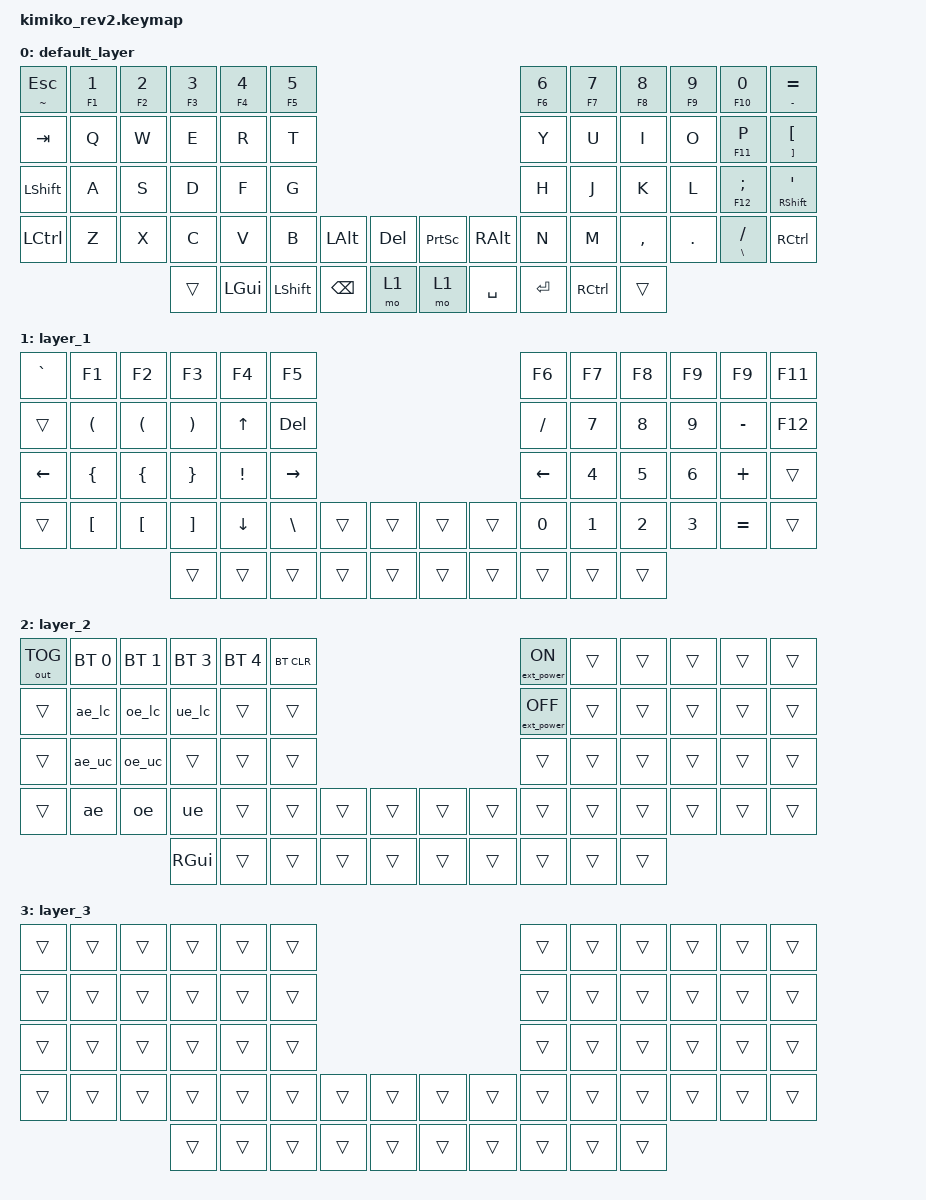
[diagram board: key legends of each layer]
#include <behaviors.dtsi>
#include <dt-bindings/zmk/bt.h>
#include <dt-bindings/zmk/ext_power.h>
#include <dt-bindings/zmk/keys.h>
#include <dt-bindings/zmk/outputs.h>

/ {
    macros {
        ae_lc: de_ae_lower_case {
            compatible = "zmk,behavior-macro";
            #binding-cells = <0>;
            wait-ms = <40>;
            tap-ms = <40>;
            bindings =
                <&macro_press>,
                <&kp LALT>,
                <&macro_tap>,
                <&kp KP_N1 &kp KP_N3 &kp KP_N2>,
                <&macro_release>,
                <&kp LALT>;
        };

        ae_uc: de_ae_upper_case {
            compatible = "zmk,behavior-macro";
            #binding-cells = <0>;
            wait-ms = <40>;
            tap-ms = <40>;
            bindings =
                <&macro_press>,
                <&kp LALT>,
                <&macro_tap>,
                <&kp KP_N1 &kp KP_N4 &kp KP_N2>,
                <&macro_release>,
                <&kp LALT>;
        };

        oe_lc: de_oe_lower_case {
            compatible = "zmk,behavior-macro";
            #binding-cells = <0>;
            wait-ms = <40>;
            tap-ms = <40>;
            bindings =
                <&macro_press>,
                <&kp LALT>,
                <&macro_tap>,
                <&kp KP_N1 &kp KP_N4 &kp KP_N8>,
                <&macro_release>,
                <&kp LALT>;
        };

        oe_uc: de_oe_upper_case {
            compatible = "zmk,behavior-macro";
            #binding-cells = <0>;
            wait-ms = <40>;
            tap-ms = <40>;
            bindings =
                <&macro_press>,
                <&kp LALT>,
                <&macro_tap>,
                <&kp KP_N1 &kp KP_N5 &kp KP_N3>,
                <&macro_release>,
                <&kp LALT>;
        };

        ue_lc: de_ue_lower_case {
            compatible = "zmk,behavior-macro";
            #binding-cells = <0>;
            wait-ms = <40>;
            tap-ms = <40>;
            bindings =
                <&macro_press>,
                <&kp LALT>,
                <&macro_tap>,
                <&kp KP_N1 &kp KP_N2 &kp KP_N9>,
                <&macro_release>,
                <&kp LALT>;
        };

        ue_uc: de_ue_upper_case {
            compatible = "zmk,behavior-macro";
            #binding-cells = <0>;
            wait-ms = <40>;
            tap-ms = <40>;
            bindings =
                <&macro_press>,
                <&kp LALT>,
                <&macro_tap>,
                <&kp KP_N1 &kp KP_N5 &kp KP_N4>,
                <&macro_release>,
                <&kp LALT>;
        };
    };

    behaviors {
        td_ae: td_de_ae {
            compatible = "zmk,behavior-tap-dance";
            #binding-cells = <0>;
            tapping-term-ms = <200>;
            bindings = <&kp A>, <&ae_lc>, <&ae_uc>;
        };

        td_oe: td_de_oe {
            compatible = "zmk,behavior-tap-dance";
            #binding-cells = <0>;
            tapping-term-ms = <200>;
            bindings = <&kp O>, <&oe_lc>, <&oe_uc>;
        };

        td_ue: td_de_ue {
            compatible = "zmk,behavior-tap-dance";
            #binding-cells = <0>;
            tapping-term-ms = <200>;
            bindings = <&kp U>, <&ue_lc>, <&ue_uc>;
        };

        ae: de_ae {
            compatible = "zmk,behavior-mod-morph";
            #binding-cells = <0>;
            bindings = <&ae_lc>, <&ae_uc>;

            mods = <(MOD_LCTL|MOD_RCTL|MOD_LGUI|MOD_RGUI|MOD_LSFT|MOD_RSFT)>;
        };

        oe: de_oe {
            compatible = "zmk,behavior-mod-morph";
            #binding-cells = <0>;
            bindings = <&oe_lc>, <&oe_uc>;

            mods = <(MOD_LSFT|MOD_RSFT)>;
        };

        ue: de_ue {
            compatible = "zmk,behavior-mod-morph";
            #binding-cells = <0>;
            bindings = <&ue_lc>, <&ue_uc>;

            mods = <(MOD_LSFT|MOD_RSFT)>;
        };

        ht_tp: hold_tap_tap_preferred {
            compatible = "zmk,behavior-hold-tap";
            #binding-cells = <2>;
            flavor = "tap-preferred";
            tapping-term-ms = <200>;
            quick-tap-ms = <200>;
            require-prior-idle-ms = <400>;
            bindings = <&kp>, <&kp>;
        };
    };

    combos {
        compatible = "zmk,combos";

        combo_adjust_layer_mo {
            bindings = <&mo 2>;
            key-positions = <56 57>;
        };
    };

    keymap {
        compatible = "zmk,keymap";

        default_layer {
            bindings = <
&mt TILDE ESC  &ht_tp F1 N1  &ht_tp F2 N2  &ht_tp F3 N3  &ht_tp F4 N4  &ht_tp F5 N5                                                            &ht_tp F6 N6  &ht_tp F7 N7  &ht_tp F8 N8  &ht_tp F9 N9  &ht_tp F10 N0    &mt MINUS EQUAL
&kp TAB        &kp Q         &kp W         &kp E         &kp R         &kp T                                                                   &kp Y         &kp U         &kp I         &kp O         &ht_tp F11 P     &mt RBKT LBKT
&kp LSHIFT     &kp A         &kp S         &kp D         &kp F         &kp G                                                                   &kp H         &kp J         &kp K         &kp L         &ht_tp F12 SEMI  &mt RSHFT APOS
&kp LCTRL      &kp Z         &kp X         &kp C         &kp V         &kp B           &kp LEFT_ALT   &kp DEL  &kp PRINTSCREEN  &kp RIGHT_ALT  &kp N         &kp M         &kp COMMA     &kp DOT       &mt BSLH FSLH    &kp RCTRL
                                           &trans        &kp LGUI      &kp LEFT_SHIFT  &kp BACKSPACE  &mo 1    &mo 1            &kp SPACE      &kp RET       &kp RCTRL     &trans
            >;
        };

        layer_1 {
            bindings = <
&kp GRAVE       &kp F1                &kp F2                &kp F3                 &kp F4           &kp F5                                         &kp F6    &kp F7        &kp F8        &kp F9  &kp F9     &kp F11
&trans          &kp LEFT_PARENTHESIS  &kp LEFT_PARENTHESIS  &kp RIGHT_PARENTHESIS  &kp UP           &kp DELETE                                     &kp FSLH  &kp N7        &kp N8        &kp N9  &kp MINUS  &kp F12
&kp LEFT_ARROW  &kp LEFT_BRACE        &kp LEFT_BRACE        &kp RIGHT_BRACE        &kp EXCLAMATION  &kp RIGHT                                      &kp LEFT  &kp N4        &kp N5        &kp N6  &kp PLUS   &trans
&trans          &kp LEFT_BRACKET      &kp LBKT              &kp RBKT               &kp DOWN_ARROW   &kp BACKSLASH  &trans  &trans  &trans  &trans  &kp N0    &kp NUMBER_1  &kp NUMBER_2  &kp N3  &kp EQUAL  &trans
                                                            &trans                 &trans           &trans         &trans  &trans  &trans  &trans  &trans    &trans        &trans
            >;
        };

        layer_2 {
            bindings = <
&out OUT_TOG  &bt BT_SEL 0  &bt BT_SEL 1  &bt BT_SEL 3  &bt BT_SEL 4  &bt BT_CLR                                  &ext_power EP_ON   &trans  &trans  &trans  &trans  &trans
&trans        &ae_lc        &oe_lc        &ue_lc        &trans        &trans                                      &ext_power EP_OFF  &trans  &trans  &trans  &trans  &trans
&trans        &ae_uc        &oe_uc        &trans        &trans        &trans                                      &trans             &trans  &trans  &trans  &trans  &trans
&trans        &ae           &oe           &ue           &trans        &trans      &trans  &trans  &trans  &trans  &trans             &trans  &trans  &trans  &trans  &trans
                                          &kp RGUI      &trans        &trans      &trans  &trans  &trans  &trans  &trans             &trans  &trans
            >;
        };

        layer_3 {
            bindings = <
&trans  &trans  &trans  &trans  &trans  &trans                                  &trans  &trans  &trans  &trans  &trans  &trans
&trans  &trans  &trans  &trans  &trans  &trans                                  &trans  &trans  &trans  &trans  &trans  &trans
&trans  &trans  &trans  &trans  &trans  &trans                                  &trans  &trans  &trans  &trans  &trans  &trans
&trans  &trans  &trans  &trans  &trans  &trans  &trans  &trans  &trans  &trans  &trans  &trans  &trans  &trans  &trans  &trans
                        &trans  &trans  &trans  &trans  &trans  &trans  &trans  &trans  &trans  &trans
            >;
        };
    };
};
